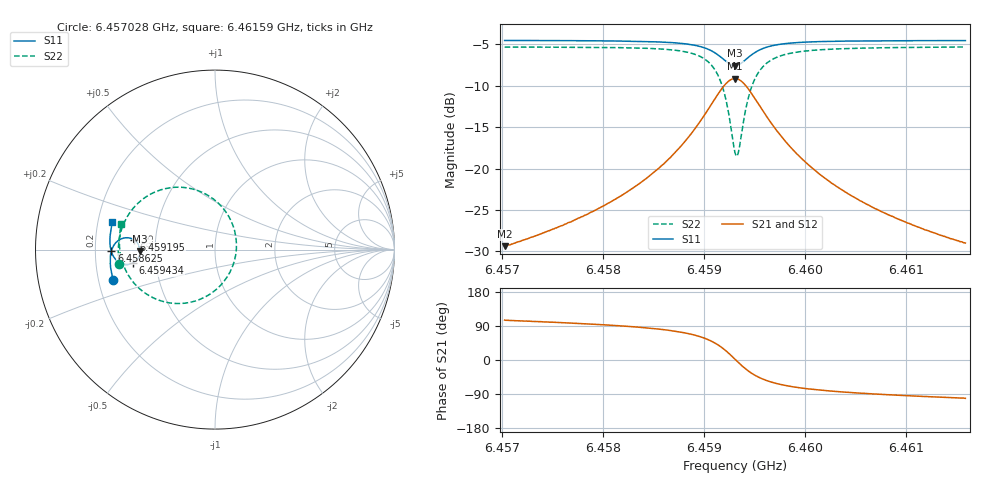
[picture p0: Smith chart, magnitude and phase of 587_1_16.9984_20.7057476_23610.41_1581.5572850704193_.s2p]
#  HZ  S  RI  R  50.00
! Rohde & Schwarz Vector Network Analyzer
! Rohde-Schwarz,ZNB20-2Port,1311601062101988,3.16
! Created: UTC 3/20/2024, 11:18:21 PM
! freq[Hz]  re:S11  im:S11  re:S21  im:S21  re:S12  im:S12  re:S22  im:S22
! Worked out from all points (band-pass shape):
!   401 points, 6.457028 GHz to 6.46159 GHz, reference 50 ohm
!   highest |S21| = -9.14 dB at 6.459309 GHz (marker M1); lowest = -29.4 dB at 6.457028 GHz (marker M2)
!   |S21| within 3 dB of the highest: 6.459081 GHz to 6.459537 GHz (455.7 kHz wide, 0.00705 % of centre)
!   lowest |S11| = -7.6 dB at 6.459309 GHz (marker M3), VSWR 2.43, Z = 20.6 - j0.427 ohm
!   |S11| at or under -10 dB: nowhere
!   |S22| runs from -18.5 to -5.3 dB; largest |S21 - S12| = 0.014
!   S11 on the Smith chart (normalised r, x): 6.457028 GHz: 0.26, -0.14; 6.458625 GHz: 0.27, -0.01; 6.459195 GHz: 0.37, +0.05; 6.459434 GHz: 0.37, -0.07; 6.46159 GHz: 0.26, +0.12
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6.4570282e9  -0.5678 -0.1683  -0.00896 0.0328  -0.007 0.0327  -0.5337 -0.0802
6.4577923e9  -0.5812 -0.1012  -0.00541 0.051  -0.00274 0.0503  -0.5385 0.0101
6.4582028e9  -0.5839 -0.0599  0.000501 0.07  0.00376 0.0685  -0.5301 0.0753
6.4585563e9  -0.5798 -0.0177  0.0151 0.0996  0.0188 0.0968  -0.5035 0.1555
6.4586247e9  -0.5775 -0.00807  0.0204 0.108  0.0243 0.1047  -0.4932 0.1756
6.4588186e9  -0.5647 0.0223  0.0472 0.1393  0.0515 0.1341  -0.4427 0.245
6.4589668e9  -0.5417 0.0485  0.0931 0.1697  0.0963 0.1629  -0.358 0.3095
6.4591036e9  -0.4974 0.0659  0.1813 0.186  0.1821 0.1786  -0.1968 0.3475
6.4591949e9  -0.4526 0.0554  0.2718 0.1541  0.272 0.1482  -0.0287 0.2957
6.4592633e9  -0.4233 0.0228  0.3325 0.0811  0.3348 0.076  0.0875 0.1643
6.4593089e9  -0.4164 -0.00857  0.3489 0.0126  0.3528 0.00552  0.1194 0.0354
6.4593431e9  -0.4205 -0.0325  0.3428 -0.0404  0.3468 -0.0497  0.1073 -0.0653
6.4593887e9  -0.4364 -0.0586  0.3137 -0.1008  0.3158 -0.1128  0.0481 -0.1794
6.4594343e9  -0.4586 -0.0752  0.271 -0.142  0.2701 -0.1555  -0.0383 -0.2547
6.4594799e9  -0.4818 -0.0821  0.2259 -0.1644  0.2219 -0.1777  -0.129 -0.2917
6.4595256e9  -0.5023 -0.082  0.1851 -0.1731  0.1789 -0.1848  -0.2097 -0.3004
6.4596738e9  -0.5467 -0.0614  0.0964 -0.1586  0.0878 -0.1649  -0.3787 -0.2496
6.4598334e9  -0.5683 -0.0336  0.0513 -0.1304  0.0435 -0.133  -0.4598 -0.1762
6.4600729e9  -0.581 0.00202  0.0221 -0.0983  0.0162 -0.0988  -0.5076 -0.0929
6.4604264e9  -0.5855 0.0441  0.00565 -0.0704  0.00172 -0.0699  -0.5291 -0.0111
6.4608369e9  -0.5834 0.0855  -0.00153 -0.0524  -0.00452 -0.0514  -0.5329 0.0551
6.4615895e9  -0.5713 0.1523  -0.00689 -0.0349  -0.0084 -0.0339  -0.5213 0.1447
